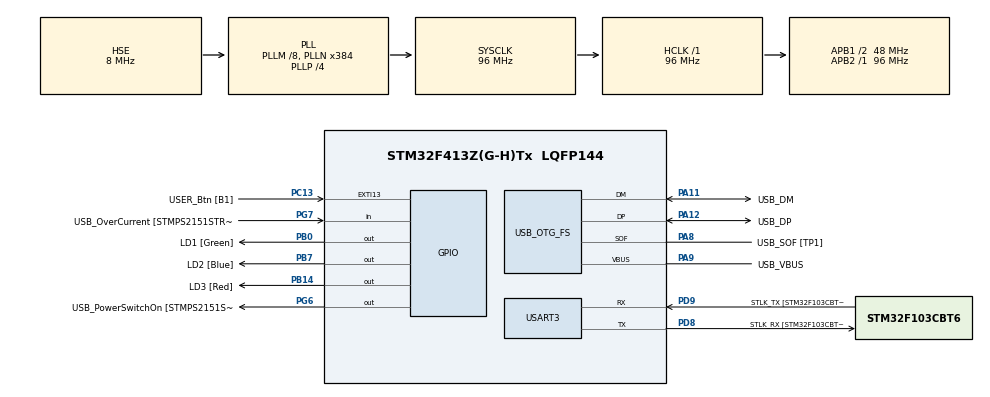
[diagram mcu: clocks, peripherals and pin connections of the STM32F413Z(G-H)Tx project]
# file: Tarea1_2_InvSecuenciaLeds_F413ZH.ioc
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Mcu.Family=STM32F4
Mcu.Name=STM32F413Z(G-H)Tx
Mcu.Package=LQFP144
NVIC.PriorityGroup=NVIC_PRIORITYGROUP_4
PA10.GPIO_Label=USB_ID
PA10.Signal=USB_OTG_FS_ID
PA11.GPIO_Label=USB_DM
PA11.Mode=Device_Only
PA11.Signal=USB_OTG_FS_DM
PA12.GPIO_Label=USB_DP
PA12.Mode=Device_Only
PA12.Signal=USB_OTG_FS_DP
PA13.GPIO_Label=TMS
PA13.Mode=Serial_Wire
PA13.Signal=SYS_JTMS-SWDIO
PA14.GPIO_Label=TCK
PA14.Mode=Serial_Wire
PA14.Signal=SYS_JTCK-SWCLK
PA8.GPIO_Label=USB_SOF [TP1]
PA8.Mode=Activate_SOF_FS
PA8.Signal=USB_OTG_FS_SOF
PA9.GPIO_Label=USB_VBUS
PA9.Mode=Activate_VBUS
PA9.Signal=USB_OTG_FS_VBUS
PB0.GPIO_Label=LD1 [Green]
PB0.Signal=GPIO_Output
PB14.GPIO_Label=LD3 [Red]
PB14.Signal=GPIO_Output
PB3.GPIO_Label=SWO
PB3.Signal=SYS_JTDO-SWO
PB7.GPIO_Label=LD2 [Blue]
PB7.Signal=GPIO_Output
PC13.GPIO_Label=USER_Btn [B1]
PC13.Signal=GPXTI13
PC14-OSC32_IN.Mode=LSE-External-Oscillator
PC14-OSC32_IN.Signal=RCC_OSC32_IN
PC15-OSC32_OUT.Mode=LSE-External-Oscillator
PC15-OSC32_OUT.Signal=RCC_OSC32_OUT
PD8.GPIO_Label=STLK_RX [STM32F103CBT6_PA3]
PD8.Mode=Asynchronous
PD8.Signal=USART3_TX
PD9.GPIO_Label=STLK_TX [STM32F103CBT6_PA2]
PD9.Mode=Asynchronous
PD9.Signal=USART3_RX
PG6.GPIO_Label=USB_PowerSwitchOn [STMPS2151STR_EN]
PG6.Signal=GPIO_Output
PG7.GPIO_Label=USB_OverCurrent [STMPS2151STR_FAULT]
PG7.Signal=GPIO_Input
PH0\ -\ OSC_IN.GPIO_Label=MCO
PH0\ -\ OSC_IN.Mode=HSE-External-Clock-Source
PH0\ -\ OSC_IN.Signal=RCC_OSC_IN
PH1\ -\ OSC_OUT.Mode=HSE-External-Clock-Source
PH1\ -\ OSC_OUT.Signal=RCC_OSC_OUT
ProjectManager.HeapSize=0x200
ProjectManager.StackSize=0x400
ProjectManager.TargetToolchain=STM32CubeIDE
RCC.48MHZClocksFreq_Value=24000000
RCC.AHBFreq_Value=96000000
RCC.APB1CLKDivider=RCC_HCLK_DIV2
RCC.APB1Freq_Value=48000000
RCC.APB1TimFreq_Value=96000000
RCC.APB2Freq_Value=96000000
RCC.APB2TimFreq_Value=96000000
RCC.CortexFreq_Value=96000000
RCC.HCLKFreq_Value=96000000
RCC.HSE_VALUE=8000000
RCC.HSI_VALUE=16000000
RCC.PLLM=8
RCC.PLLMUL=RCC_PLL_MUL9
RCC.PLLN=384
RCC.PLLP=RCC_PLLP_DIV4
RCC.PLLQ=8
RCC.PRESCALERUSB=RCC_USBCLKSOURCE_PLL_DIV1_5
RCC.SYSCLKFreq_VALUE=96000000
RCC.SYSCLKSource=RCC_SYSCLKSOURCE_PLLCLK
RCC.SYSCLKSourceVirtual=RCC_SYSCLKSOURCE_PLLCLK
RCC.USBFreq_Value=48000000
RCC.VCOOutputFreq_Value=384000000
USART3.VirtualMode=VM_ASYNC
USB_OTG_FS.VirtualMode=Device_Only
board=NUCLEO-F413ZH

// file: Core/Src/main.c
/* USER CODE BEGIN Header */
/**
  ******************************************************************************
  * @file           : main.c Tarea1_2_InvSecuanciaLeds_F413ZH
  * @brief          : Main program body
  ******************************************************************************
  * @attention
  *
  * Copyright (c) 2023 STMicroelectronics.
  * All rights reserved.
  *
  * This software is licensed under terms that can be found in the LICENSE file
  * in the root directory of this software component.
  * If no LICENSE file comes with this software, it is provided AS-IS.
  *
  ******************************************************************************
  */
/* USER CODE END Header */
#include "main.h"

UART_HandleTypeDef huart3;

PCD_HandleTypeDef hpcd_USB_OTG_FS;

void SystemClock_Config(void);
static void MX_GPIO_Init(void);
static void MX_USART3_UART_Init(void);
static void MX_USB_OTG_FS_PCD_Init(void);

int main(void)
{

  /* MCU Configuration--------------------------------------------------------*/

  /* Reset of all peripherals, Initializes the Flash interface and the Systick. */
  HAL_Init();

  /* USER CODE BEGIN Init */
  uint16_t LEDS[3] = {LD1_Pin, LD2_Pin, LD3_Pin}; /*Creo vector de LEDs de usuario*/
  uint16_t User_Button;

  /* USER CODE END Init */

  /* Configure the system clock */
  SystemClock_Config();

  /* Initialize all configured peripherals */
  MX_GPIO_Init();/*Inicializa los LEDs de usuario en 0" (RESET), el boton de usuario es activo alto e
  	  	  	  	  inicializa en modo activo por flanco creciente*/
  MX_USART3_UART_Init();
  MX_USB_OTG_FS_PCD_Init();

  /* USER CODE BEGIN 2 */
  User_Button = HAL_GPIO_ReadPin(GPIOC, USER_Btn_Pin);
  /* USER CODE END 2 */

  /* Infinite loop */
  /* USER CODE BEGIN WHILE */
  while (1)
  {
	while (User_Button == 1)
	{
		for (uint8_t i = 0; i < 3; i++)
		{
			HAL_GPIO_WritePin(GPIOB, LEDS[i], GPIO_PIN_SET);
			HAL_Delay(200);
			HAL_GPIO_WritePin(GPIOB, LEDS[i], GPIO_PIN_RESET);
			HAL_Delay(200);
		}
		User_Button = HAL_GPIO_ReadPin(GPIOC, USER_Btn_Pin);
		User_Button = !User_Button;
	}

	while (User_Button == 0)
	{
		for (int8_t i = 2; i >= 0 ; i--)
		{
			HAL_GPIO_WritePin(GPIOB, LEDS[i], GPIO_PIN_SET);
			HAL_Delay(200);
			HAL_GPIO_WritePin(GPIOB, LEDS[i], GPIO_PIN_RESET);
			HAL_Delay(200);
		}
		User_Button = HAL_GPIO_ReadPin(GPIOC, USER_Btn_Pin);

	}

	/* USER CODE END WHILE */

  }
}

void SystemClock_Config(void)
{
  RCC_OscInitTypeDef RCC_OscInitStruct = {0};
  RCC_ClkInitTypeDef RCC_ClkInitStruct = {0};

  /** Configure the main internal regulator output voltage
  */
  __HAL_RCC_PWR_CLK_ENABLE();
  __HAL_PWR_VOLTAGESCALING_CONFIG(PWR_REGULATOR_VOLTAGE_SCALE1);

  /** Initializes the RCC Oscillators according to the specified parameters
  * in the RCC_OscInitTypeDef structure.
  */
  RCC_OscInitStruct.OscillatorType = RCC_OSCILLATORTYPE_HSE;
  RCC_OscInitStruct.HSEState = RCC_HSE_BYPASS;
  RCC_OscInitStruct.PLL.PLLState = RCC_PLL_ON;
  RCC_OscInitStruct.PLL.PLLSource = RCC_PLLSOURCE_HSE;
  RCC_OscInitStruct.PLL.PLLM = 8;
  RCC_OscInitStruct.PLL.PLLN = 384;
  RCC_OscInitStruct.PLL.PLLP = RCC_PLLP_DIV4;
  RCC_OscInitStruct.PLL.PLLQ = 8;
  RCC_OscInitStruct.PLL.PLLR = 2;
  if (HAL_RCC_OscConfig(&RCC_OscInitStruct) != HAL_OK)
  {
    Error_Handler();
  }

  /** Initializes the CPU, AHB and APB buses clocks
  */
  RCC_ClkInitStruct.ClockType = RCC_CLOCKTYPE_HCLK|RCC_CLOCKTYPE_SYSCLK
                              |RCC_CLOCKTYPE_PCLK1|RCC_CLOCKTYPE_PCLK2;
  RCC_ClkInitStruct.SYSCLKSource = RCC_SYSCLKSOURCE_PLLCLK;
  RCC_ClkInitStruct.AHBCLKDivider = RCC_SYSCLK_DIV1;
  RCC_ClkInitStruct.APB1CLKDivider = RCC_HCLK_DIV2;
  RCC_ClkInitStruct.APB2CLKDivider = RCC_HCLK_DIV1;

  if (HAL_RCC_ClockConfig(&RCC_ClkInitStruct, FLASH_LATENCY_3) != HAL_OK)
  {
    Error_Handler();
  }
}

static void MX_USART3_UART_Init(void)
{

  huart3.Instance = USART3;
  huart3.Init.BaudRate = 115200;
  huart3.Init.WordLength = UART_WORDLENGTH_8B;
  huart3.Init.StopBits = UART_STOPBITS_1;
  huart3.Init.Parity = UART_PARITY_NONE;
  huart3.Init.Mode = UART_MODE_TX_RX;
  huart3.Init.HwFlowCtl = UART_HWCONTROL_NONE;
  huart3.Init.OverSampling = UART_OVERSAMPLING_16;
  if (HAL_UART_Init(&huart3) != HAL_OK)
  {
    Error_Handler();
  }

}

static void MX_USB_OTG_FS_PCD_Init(void)
{

  hpcd_USB_OTG_FS.Instance = USB_OTG_FS;
  hpcd_USB_OTG_FS.Init.dev_endpoints = 6;
  hpcd_USB_OTG_FS.Init.speed = PCD_SPEED_FULL;
  hpcd_USB_OTG_FS.Init.dma_enable = DISABLE;
  hpcd_USB_OTG_FS.Init.phy_itface = PCD_PHY_EMBEDDED;
  hpcd_USB_OTG_FS.Init.Sof_enable = ENABLE;
  hpcd_USB_OTG_FS.Init.low_power_enable = DISABLE;
  hpcd_USB_OTG_FS.Init.lpm_enable = DISABLE;
  hpcd_USB_OTG_FS.Init.battery_charging_enable = ENABLE;
  hpcd_USB_OTG_FS.Init.vbus_sensing_enable = ENABLE;
  hpcd_USB_OTG_FS.Init.use_dedicated_ep1 = DISABLE;
  if (HAL_PCD_Init(&hpcd_USB_OTG_FS) != HAL_OK)
  {
    Error_Handler();
  }

}

static void MX_GPIO_Init(void)
{
  GPIO_InitTypeDef GPIO_InitStruct = {0};

  /* GPIO Ports Clock Enable */
  __HAL_RCC_GPIOC_CLK_ENABLE();
  __HAL_RCC_GPIOH_CLK_ENABLE();
  __HAL_RCC_GPIOB_CLK_ENABLE();
  __HAL_RCC_GPIOD_CLK_ENABLE();
  __HAL_RCC_GPIOG_CLK_ENABLE();
  __HAL_RCC_GPIOA_CLK_ENABLE();

  /*Configure GPIO pin Output Level */
  HAL_GPIO_WritePin(GPIOB, LD1_Pin|LD3_Pin|LD2_Pin, GPIO_PIN_RESET);

  /*Configure GPIO pin Output Level */
  HAL_GPIO_WritePin(USB_PowerSwitchOn_GPIO_Port, USB_PowerSwitchOn_Pin, GPIO_PIN_RESET);

  /*Configure GPIO pin : USER_Btn_Pin */
  GPIO_InitStruct.Pin = USER_Btn_Pin;
  GPIO_InitStruct.Mode = GPIO_MODE_IT_RISING;
  GPIO_InitStruct.Pull = GPIO_NOPULL;
  HAL_GPIO_Init(USER_Btn_GPIO_Port, &GPIO_InitStruct);

  /*Configure GPIO pins : LD1_Pin LD3_Pin LD2_Pin */
  GPIO_InitStruct.Pin = LD1_Pin|LD3_Pin|LD2_Pin;
  GPIO_InitStruct.Mode = GPIO_MODE_OUTPUT_PP;
  GPIO_InitStruct.Pull = GPIO_NOPULL;
  GPIO_InitStruct.Speed = GPIO_SPEED_FREQ_LOW;
  HAL_GPIO_Init(GPIOB, &GPIO_InitStruct);

  /*Configure GPIO pin : USB_PowerSwitchOn_Pin */
  GPIO_InitStruct.Pin = USB_PowerSwitchOn_Pin;
  GPIO_InitStruct.Mode = GPIO_MODE_OUTPUT_PP;
  GPIO_InitStruct.Pull = GPIO_NOPULL;
  GPIO_InitStruct.Speed = GPIO_SPEED_FREQ_LOW;
  HAL_GPIO_Init(USB_PowerSwitchOn_GPIO_Port, &GPIO_InitStruct);

  /*Configure GPIO pin : USB_OverCurrent_Pin */
  GPIO_InitStruct.Pin = USB_OverCurrent_Pin;
  GPIO_InitStruct.Mode = GPIO_MODE_INPUT;
  GPIO_InitStruct.Pull = GPIO_NOPULL;
  HAL_GPIO_Init(USB_OverCurrent_GPIO_Port, &GPIO_InitStruct);

}

void Error_Handler(void)
{
  __disable_irq();
  while (1)
  {
  }
}
